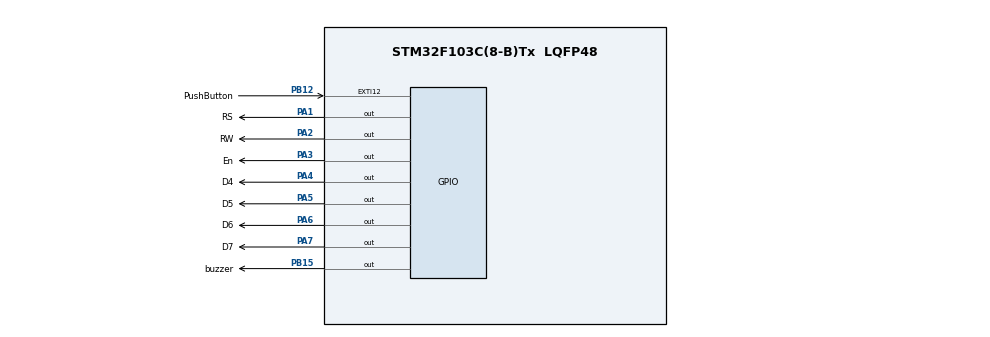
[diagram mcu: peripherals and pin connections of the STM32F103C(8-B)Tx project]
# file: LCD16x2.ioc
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Mcu.Family=STM32F1
Mcu.Name=STM32F103C(8-B)Tx
Mcu.Package=LQFP48
NVIC.EXTI15_10_IRQn=true\:0\:0\:false\:false\:true\:true\:true\:true
NVIC.PriorityGroup=NVIC_PRIORITYGROUP_4
PA1.GPIO_Label=RS
PA1.Signal=GPIO_Output
PA13.Mode=Serial_Wire
PA13.Signal=SYS_JTMS-SWDIO
PA14.Mode=Serial_Wire
PA14.Signal=SYS_JTCK-SWCLK
PA2.GPIO_Label=RW
PA2.Signal=GPIO_Output
PA3.GPIO_Label=En
PA3.Signal=GPIO_Output
PA4.GPIO_Label=D4
PA4.Signal=GPIO_Output
PA5.GPIO_Label=D5
PA5.Signal=GPIO_Output
PA6.GPIO_Label=D6
PA6.Signal=GPIO_Output
PA7.GPIO_Label=D7
PA7.Signal=GPIO_Output
PB12.GPIO_Label=PushButton
PB12.GPIO_PuPd=GPIO_PULLDOWN
PB12.Signal=GPXTI12
PB15.GPIO_Label=buzzer
PB15.Signal=GPIO_Output
PD0-OSC_IN.Mode=HSE-External-Oscillator
PD0-OSC_IN.Signal=RCC_OSC_IN
PD1-OSC_OUT.Mode=HSE-External-Oscillator
PD1-OSC_OUT.Signal=RCC_OSC_OUT
ProjectManager.HeapSize=0x200
ProjectManager.StackSize=0x400
ProjectManager.TargetToolchain=STM32CubeIDE
RCC.APB1Freq_Value=8000000
RCC.APB2Freq_Value=8000000
TIM1.Prescaler=8-1
VP_TIM1_VS_ClockSourceINT.Mode=Internal
board=custom

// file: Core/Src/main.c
/* USER CODE BEGIN Header */
/**
  ******************************************************************************
  * @file           : main.c
  * @brief          : Main program body
  ******************************************************************************
  * @attention
  *
  * Copyright (c) 2025 STMicroelectronics.
  * All rights reserved.
  *
  * This software is licensed under terms that can be found in the LICENSE file
  * in the root directory of this software component.
  * If no LICENSE file comes with this software, it is provided AS-IS.
  *
  ******************************************************************************
  */
/* USER CODE END Header */
#include "main.h"

/* USER CODE BEGIN Includes */
#include <LCD16x2.h>
/* USER CODE END Includes */

TIM_HandleTypeDef htim1;

/* USER CODE BEGIN PV */
uint8_t flag_pushButton = 0;
/* USER CODE END PV */

void SystemClock_Config(void);
static void MX_GPIO_Init(void);
static void MX_TIM1_Init(void);
/* USER CODE BEGIN PFP */
void LCD_Roll();

void buzz_beep();
/* USER CODE END PFP */

int main(void)
{

  /* MCU Configuration--------------------------------------------------------*/

  /* Reset of all peripherals, Initializes the Flash interface and the Systick. */
  HAL_Init();

  /* Configure the system clock */
  SystemClock_Config();

  /* Initialize all configured peripherals */
  MX_GPIO_Init();
  MX_TIM1_Init();
  /* USER CODE BEGIN 2 */
  LCD_Init();

  LCD_SetCursor(0, 5);			//First row
  LCD_SendStr("Sly Fox");
  LCD_SetCursor(1, 3);			// second row
  LCD_SendStr("Electronics");
  /* USER CODE END 2 */

  /* Infinite loop */
  /* USER CODE BEGIN WHILE */
  while (1)
  {
	  if(flag_pushButton)
	  {
		  buzz_beep();		//start
		  LCD_Roll();
		  buzz_beep();		//finish
		  flag_pushButton = 0;
	  }
    /* USER CODE END WHILE */

  }
}

void SystemClock_Config(void)
{
  RCC_OscInitTypeDef RCC_OscInitStruct = {0};
  RCC_ClkInitTypeDef RCC_ClkInitStruct = {0};

  /** Initializes the RCC Oscillators according to the specified parameters
  * in the RCC_OscInitTypeDef structure.
  */
  RCC_OscInitStruct.OscillatorType = RCC_OSCILLATORTYPE_HSI;
  RCC_OscInitStruct.HSIState = RCC_HSI_ON;
  RCC_OscInitStruct.HSICalibrationValue = RCC_HSICALIBRATION_DEFAULT;
  RCC_OscInitStruct.PLL.PLLState = RCC_PLL_NONE;
  if (HAL_RCC_OscConfig(&RCC_OscInitStruct) != HAL_OK)
  {
    Error_Handler();
  }

  /** Initializes the CPU, AHB and APB buses clocks
  */
  RCC_ClkInitStruct.ClockType = RCC_CLOCKTYPE_HCLK|RCC_CLOCKTYPE_SYSCLK
                              |RCC_CLOCKTYPE_PCLK1|RCC_CLOCKTYPE_PCLK2;
  RCC_ClkInitStruct.SYSCLKSource = RCC_SYSCLKSOURCE_HSI;
  RCC_ClkInitStruct.AHBCLKDivider = RCC_SYSCLK_DIV1;
  RCC_ClkInitStruct.APB1CLKDivider = RCC_HCLK_DIV1;
  RCC_ClkInitStruct.APB2CLKDivider = RCC_HCLK_DIV1;

  if (HAL_RCC_ClockConfig(&RCC_ClkInitStruct, FLASH_LATENCY_0) != HAL_OK)
  {
    Error_Handler();
  }
}

static void MX_TIM1_Init(void)
{

  TIM_ClockConfigTypeDef sClockSourceConfig = {0};
  TIM_MasterConfigTypeDef sMasterConfig = {0};

  htim1.Instance = TIM1;
  htim1.Init.Prescaler = 8-1;
  htim1.Init.CounterMode = TIM_COUNTERMODE_UP;
  htim1.Init.Period = 65535;
  htim1.Init.ClockDivision = TIM_CLOCKDIVISION_DIV1;
  htim1.Init.RepetitionCounter = 0;
  htim1.Init.AutoReloadPreload = TIM_AUTORELOAD_PRELOAD_DISABLE;
  if (HAL_TIM_Base_Init(&htim1) != HAL_OK)
  {
    Error_Handler();
  }
  sClockSourceConfig.ClockSource = TIM_CLOCKSOURCE_INTERNAL;
  if (HAL_TIM_ConfigClockSource(&htim1, &sClockSourceConfig) != HAL_OK)
  {
    Error_Handler();
  }
  sMasterConfig.MasterOutputTrigger = TIM_TRGO_RESET;
  sMasterConfig.MasterSlaveMode = TIM_MASTERSLAVEMODE_DISABLE;
  if (HAL_TIMEx_MasterConfigSynchronization(&htim1, &sMasterConfig) != HAL_OK)
  {
    Error_Handler();
  }
  /* USER CODE BEGIN TIM1_Init 2 */
  HAL_TIM_Base_Start(&htim1);
  /* USER CODE END TIM1_Init 2 */

}

static void MX_GPIO_Init(void)
{
  GPIO_InitTypeDef GPIO_InitStruct = {0};

  /* GPIO Ports Clock Enable */
  __HAL_RCC_GPIOD_CLK_ENABLE();
  __HAL_RCC_GPIOA_CLK_ENABLE();
  __HAL_RCC_GPIOB_CLK_ENABLE();

  /*Configure GPIO pin Output Level */
  HAL_GPIO_WritePin(GPIOA, RS_Pin|RW_Pin|En_Pin|D4_Pin
                          |D5_Pin|D6_Pin|D7_Pin, GPIO_PIN_RESET);

  /*Configure GPIO pin Output Level */
  HAL_GPIO_WritePin(buzzer_GPIO_Port, buzzer_Pin, GPIO_PIN_RESET);

  /*Configure GPIO pins : RS_Pin RW_Pin En_Pin D4_Pin
                           D5_Pin D6_Pin D7_Pin */
  GPIO_InitStruct.Pin = RS_Pin|RW_Pin|En_Pin|D4_Pin
                          |D5_Pin|D6_Pin|D7_Pin;
  GPIO_InitStruct.Mode = GPIO_MODE_OUTPUT_PP;
  GPIO_InitStruct.Pull = GPIO_NOPULL;
  GPIO_InitStruct.Speed = GPIO_SPEED_FREQ_LOW;
  HAL_GPIO_Init(GPIOA, &GPIO_InitStruct);

  /*Configure GPIO pin : PushButton_Pin */
  GPIO_InitStruct.Pin = PushButton_Pin;
  GPIO_InitStruct.Mode = GPIO_MODE_IT_RISING;
  GPIO_InitStruct.Pull = GPIO_PULLDOWN;
  HAL_GPIO_Init(PushButton_GPIO_Port, &GPIO_InitStruct);

  /*Configure GPIO pin : buzzer_Pin */
  GPIO_InitStruct.Pin = buzzer_Pin;
  GPIO_InitStruct.Mode = GPIO_MODE_OUTPUT_PP;
  GPIO_InitStruct.Pull = GPIO_NOPULL;
  GPIO_InitStruct.Speed = GPIO_SPEED_FREQ_LOW;
  HAL_GPIO_Init(buzzer_GPIO_Port, &GPIO_InitStruct);

  /* EXTI interrupt init*/
  HAL_NVIC_SetPriority(EXTI15_10_IRQn, 0, 0);
  HAL_NVIC_EnableIRQ(EXTI15_10_IRQn);

}

/* USER CODE BEGIN 4 */

//-------shift the whole display to the left---------------
void LCD_Roll()
{
	//---Rolling Block--------------------
	//visible disappearing
	for(int i = 0; i<=13;i++)
	{
		LCD_ShiftLeft();
		HAL_Delay(350);
	}

	//invisible
	for(int i = 14; i<=25; i++)
	{
		LCD_ShiftLeft();
		HAL_Delay(1);
	}

	//visible appearing
	for(int i = 26; i<40;i++)	//26
	{
		LCD_ShiftLeft();
		HAL_Delay(350);
	}

	//---ping-pong block-------------------
	for(int i=0; i<=2; i++)
	{
		LCD_ShiftLeft();
		HAL_Delay(350);
	}

	for(int i=0; i<=4; i++)
	{
		LCD_ShiftRight();
		HAL_Delay(350);
	}

	for(int i=0; i<=1; i++)
	{
		LCD_ShiftLeft();
		HAL_Delay(350);
	}
}

//-------produce beep sound by buzzer----------------------
void buzz_beep()
{
	HAL_GPIO_WritePin(buzzer_GPIO_Port, buzzer_Pin, GPIO_PIN_SET);
	HAL_Delay(250);
	HAL_GPIO_WritePin(buzzer_GPIO_Port, buzzer_Pin, GPIO_PIN_RESET);
	HAL_Delay(250);

}

//-------push button callback---------------------------------
void HAL_GPIO_EXTI_Callback(uint16_t GPIO_Pin)
{
	flag_pushButton = 1;
}

/* USER CODE END 4 */

void Error_Handler(void)
{
  __disable_irq();
  while (1)
  {
  }
}
